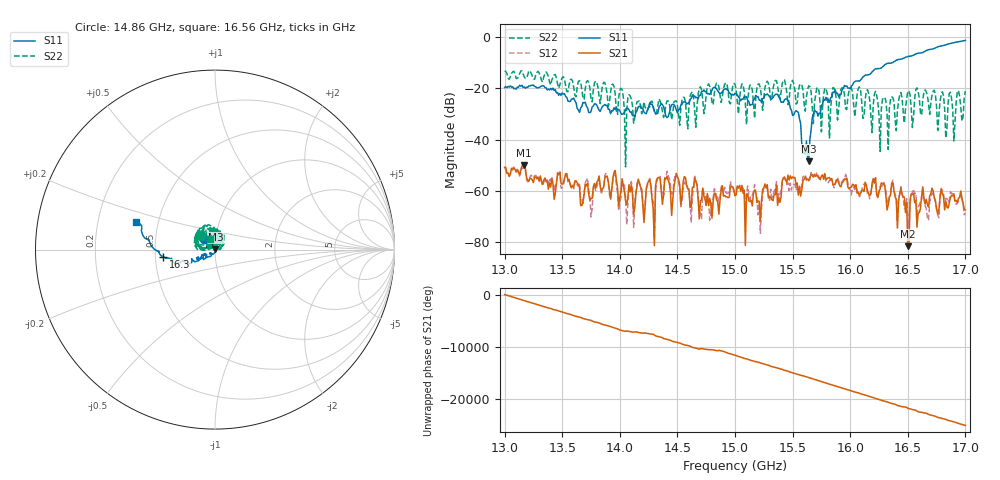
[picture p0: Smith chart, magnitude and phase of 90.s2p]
!Keysight Technologies,P9374A,MY57211807,A.19.30.04
!Date: Friday, May 01, 2026 14:29:30
!Correction: S11(C  2-Port  )
!S21(C  2-Port  )
!S12(C  2-Port  )
!S22(C  2-Port  )
!S2P File: Measurements: S11, S21, S12, S22:
# Hz S  RI  R 50
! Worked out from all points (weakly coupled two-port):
!   401 points, 13 GHz to 17 GHz, reference 50 ohm
!   highest |S21| = -50.13 dB at 13.17 GHz (marker M1); lowest = -81.8 dB at 16.5 GHz (marker M2)
!   lowest |S11| = -48.6 dB at 15.64 GHz (marker M3), VSWR 1.01, Z = 50.3 + j0.275 ohm
!   |S11| at or under -10 dB: start of sweep to 16.36 GHz
!   |S22| runs from -50.7 to -13.1 dB; largest |S21 - S12| = 0.00098
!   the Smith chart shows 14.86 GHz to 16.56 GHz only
!   S11 on the Smith chart (normalised r, x): 14.86 GHz: 0.88, +0.11; 16.3 GHz: 0.55, -0.05; 16.56 GHz: 0.38, +0.15
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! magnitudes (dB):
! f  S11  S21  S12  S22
! 13 GHz  -19.6  -50.9  -50.9  -13.1
! 13.17 GHz  -19.4  -50.1  -50.8  -15.4
! 13.67 GHz  -27.1  -65.9  -63.5  -20.4
! 13.96 GHz  -28.3  -52.1  -53.5  -22.1
! 14.21 GHz  -29.3  -72.5  -70.3  -25.2
! 14.25 GHz  -27.3  -56.3  -56.6  -27.5
! 14.29 GHz  -27.5  -67.1  -64.4  -27.1
! 14.34 GHz  -27.4  -54.8  -54.3  -24.1
! 14.86 GHz  -21.6  -69.2  -65.9  -19.3
! 15 GHz  -21.9  -62.1  -60.7  -18.3
! 15.21 GHz  -24.6  -64.2  -65.6  -18.2
! 15.26 GHz  -22.6  -57.4  -58.3  -19.6
! 15.38 GHz  -23.3  -62.9  -62.9  -22.2
! 15.45 GHz  -23.9  -56.9  -57.6  -21.7
! 15.64 GHz  -48.6  -56.0  -56.2  -19.0
! 15.67 GHz  -31.5  -53.8  -54.0  -26.9
! 16.3 GHz  -10.7  -58.1  -58.1  -23.5
! 16.34 GHz  -10.1  -62.4  -62.7  -27.6
! 16.45 GHz  -8.5  -61.5  -61.2  -23.8
! 16.5 GHz  -7.4  -81.8  -68.9  -21.2
! 16.56 GHz  -6.7  -64.7  -61.4  -23.9
! 17 GHz  -1.2  -67.6  -68.8  -21.0
